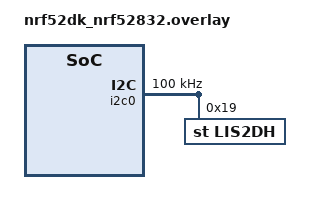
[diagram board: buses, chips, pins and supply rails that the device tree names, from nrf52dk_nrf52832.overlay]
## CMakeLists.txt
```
# SPDX-License-Identifier: Apache-2.0

cmake_minimum_required(VERSION 3.20.0)

find_package(Zephyr REQUIRED HINTS $ENV{ZEPHYR_BASE})
project(FOTA_BLE_ASHU)

target_sources(app PRIVATE src/main.c src/fota_ble_ashu.c)
```

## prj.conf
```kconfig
# FOTA Support
CONFIG_NCS_SAMPLE_MCUMGR_BT_OTA_DFU=y
CONFIG_SYSTEM_WORKQUEUE_STACK_SIZE=4096

# BLE Configuration
CONFIG_BT=y
CONFIG_BT_PERIPHERAL=y
CONFIG_BT_DEVICE_NAME="Activity_Node_F"
CONFIG_BT_GATT_CLIENT=y
CONFIG_BT_EXT_ADV=y
CONFIG_BT_LBS=y
CONFIG_BT_LBS_POLL_BUTTON=y
CONFIG_DK_LIBRARY=y

# Logging
# CONFIG_LOG=y
# CONFIG_LOG_BUFFER_SIZE=2048
# CONFIG_BT_DEBUG_LOG is deprecated

# Power Management
# CONFIG_PM=y
# CONFIG_PM_DEVICE=y

# Sensors & Peripherals
CONFIG_I2C=y
CONFIG_SENSOR=y
CONFIG_GPIO=y
CONFIG_ADC=y
CONFIG_LIS2DH=y
# CONFIG_SENSOR_LOG_LEVEL_DBG=y

# Floating Point Support
# CONFIG_CBPRINTF_FP_SUPPORT=y

# Optimization
# Optimization
CONFIG_SIZE_OPTIMIZATIONS=y
# CONFIG_DEBUG_OPTIMIZATIONS is not set
# CONFIG_COMPILER_OPT=""

# Stack Sizes
CONFIG_MAIN_STACK_SIZE=4096
CONFIG_IDLE_STACK_SIZE=1024
CONFIG_ISR_STACK_SIZE=4096

# Bluetooth Controller
CONFIG_BT_CTLR_ADV_DATA_LEN_MAX=128
CONFIG_BT_CTLR_TX_PWR_PLUS_4=y

# Console
CONFIG_STDOUT_CONSOLE=y
```

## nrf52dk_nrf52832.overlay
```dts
&i2c0{
    compatible = "nordic,nrf-twim";
    status = "okay";
    clock-frequency = <I2C_BITRATE_STANDARD>;
    lis2dh@19 {
        status = "okay";
        compatible = "st,lis2dh";
        reg = <0x19>;
        label = "LIS2DH";
    };
};


// / {
//     leds {
//         compatible = "gpio-leds";
//         led0: led_0 {
//             gpios = <&gpio0 2 GPIO_ACTIVE_LOW>;
//             label = "Green LED 0";
//         };
//         led1: led_1 {
//             gpios = <&gpio0 3 GPIO_ACTIVE_LOW>;
//             label = "Green LED 1";
//         };
//         led2: led_2 {
//             gpios = <&gpio0 4 GPIO_ACTIVE_LOW>;
//             label = "Green LED 2";
//         };
//         led3: led_3 {
//             gpios = <&gpio0 28 GPIO_ACTIVE_LOW>;
//             label = "Green LED 3";
//         };
//     };

// };
// &pinctrl {
//     uart0_default: uart0_default {
//         group1 {
//             psels = <NRF_PSEL(UART_TX, 0, 24)>,
//                     <NRF_PSEL(UART_RX, 0, 23)>,
//                     <NRF_PSEL(UART_RTS, 0, 5)>,
//                     <NRF_PSEL(UART_CTS, 0, 7)>;
//         };
//     };

//     uart0_sleep: uart0_sleep {
//         group1 {
//             psels = <NRF_PSEL(UART_TX, 0, 24)>,
//                     <NRF_PSEL(UART_RX, 0, 23)>,
//                     <NRF_PSEL(UART_RTS, 0, 5)>,
//                     <NRF_PSEL(UART_CTS, 0, 7)>;
//             low-power-enable;
//         };
//     };
//     i2c0_default: i2c0_default {
//         group1 {
//             psels = <NRF_PSEL(TWIM_SDA, 0, 26)>,
//                     <NRF_PSEL(TWIM_SCL, 0, 25)>;
//         };
//     };

//     i2c0_sleep: i2c0_sleep {
//         group1 {
//             psels = <NRF_PSEL(TWIM_SDA, 0, 26)>,
//                     <NRF_PSEL(TWIM_SCL, 0, 25)>;
//             low-power-enable;
//         };
//     };
// };
```

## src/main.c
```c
#include <zephyr/kernel.h>                                   // header files for the project
#include <zephyr/bluetooth/bluetooth.h>
#include <zephyr/drivers/gpio.h>
#include <zephyr/device.h>
#include <zephyr/pm/pm.h>
#include <hal/nrf_gpio.h>
#include <zephyr/drivers/sensor.h>
#include <zephyr/bluetooth/controller.h>
#include <hal/nrf_gpio.h>
#include "fota_ble_ashu.h"

#define SENSOR_TYPE     0x1E; 
#define TOTAL_PACKETS    1;

struct bt_le_ext_adv *adv;                                                            // Declare a pointer to Bluetooth Low Energy extended advertisement structure
const struct device *sensor = DEVICE_DT_GET_ANY(st_lis2dh);             

int8_t accel_value_xa, accel_value_xb;                                                    // Declare a 8 bit signed integer variables to accelorometer values
int8_t accel_value_ya, accel_value_yb;
int8_t accel_value_za, accel_value_zb;

int err;                                                                           // Declare a variable to store error codes

#define DEVICE_NAME CONFIG_BT_DEVICE_NAME
#define DEVICE_NAME_LEN (sizeof(DEVICE_NAME) - 1)                     // It includes the null-terminator (\0) at the end of the string, Subtracting 1 gives the actual length of the string 

struct bt_le_adv_param adv_param = BT_LE_ADV_PARAM_INIT(BT_LE_ADV_OPT_CONN | BT_LE_ADV_OPT_EXT_ADV | BT_LE_ADV_OPT_USE_IDENTITY | BT_LE_ADV_OPT_NO_2M, 0x30, 0x30, NULL);
// start advertising with no timeout and exactly one extended advertising event allowed in the extended advertising set.
struct bt_le_ext_adv_start_param ext_adv_param = BT_LE_EXT_ADV_START_PARAM_INIT(0, 2); // number of events is set to 2.
static uint8_t mfg_data[10] = {0};              // Define a static array to store manufacturer-specific data included in the Bluetooth advertising packets with a size of 10 bytes
static const struct bt_data ad[] = {
      BT_DATA(BT_DATA_MANUFACTURER_DATA, mfg_data, 10),       // Define Bluetooth data with manufacturer-specific data
	    BT_DATA(BT_DATA_NAME_COMPLETE, DEVICE_NAME, DEVICE_NAME_LEN)               // Define Bluetooth data with the complete device name  
                                             
  };
  

//function for creating a random static address and setting it as the identity address of the device.
static void set_random_static_address(void)                     // Function to set a random static address
{
  
  printk("Starting iBeacon Demo\n");                           // Print a message indicating the start of the iBeacon demo

  bt_addr_le_t addr;       //This declares a variable named 'addr' of type 'bt_addr_le_t'. This structure is used to hold a Bluetooth Low Energy (LE) address.     

  // convert the string into a binary address and stores this address in a buffer whose address is addr.
  err = bt_addr_le_from_str("DE:AD:BE:AF:BC:19", "random", &addr); // The second parameter, "random", specifies that the address is a random static address.
  if (err)                                                          // err will hold the return value of this function. If the conversion is successful, err will be 0. 
  {
    printk("Invalid BT address (err %d)\n", err);                    // Print an error message indicating the failure to set the Bluetooth address
  }

  // create a new Identity address. This must be done before enabling Bluetooth. Addr is the address used for the new identity
  err = bt_id_create(&addr, NULL);                                    // Attempt to create a new Bluetooth identity using the provided address
  if (err < 0)                                                             // Check if there was an error in creating the new Bluetooth identity
  {
    printk("Creating new ID failed (err %d)\n", err);                        
  }
  printk("Created new address\n");                                          
}

// function to create the extended advertising set using the advertising parameters.
void adv_param_init(void)                                         // Function to initialize advertising parameters
{
  int err;                                                        
 
  err = bt_le_ext_adv_create(&adv_param, NULL, &adv);           // Attempt to create an extended advertising set, 'NULL' indicating that there are no additional parameters or options provided. 

  if (err)                                                   // Check if there was an error in creating the advertising set
  {
    printk("Failed to create advertising set (err %d)\n", err);       // Print an error message indicating the failure to create the advertising set
    return;                                                           
  }
  printk("Created extended advertising set \n");                       
}

void fetch_acc_data(void)
{
    // Initialize GPIO pins for LEDs
    nrf_gpio_cfg_output(DT_GPIO_PIN(DT_NODELABEL(led0), gpios));    //configures a specified GPIO pin as an output
    nrf_gpio_cfg_output(DT_GPIO_PIN(DT_NODELABEL(led1), gpios));    //The macro 'DT_GPIO_PIN' is used to get the GPIO pin number from the device tree
    nrf_gpio_cfg_output(DT_GPIO_PIN(DT_NODELABEL(led2), gpios));

    // // Initially turn off all LEDs (Active low logic)
    // nrf_gpio_pin_set(DT_GPIO_PIN(DT_NODELABEL(led0), gpios));
    // nrf_gpio_pin_set(DT_GPIO_PIN(DT_NODELABEL(led1), gpios));
    // nrf_gpio_pin_set(DT_GPIO_PIN(DT_NODELABEL(led2), gpios));
    
    mfg_data[0] = 0x59;
    mfg_data[1] = 0x00;
    mfg_data[2] = 158; //device id

        struct sensor_value accel[3];
        
        err = sensor_sample_fetch(sensor); // Fetch sensor samples from the sensor device

        if (err == 0) // Check if the sampling operation was successful
        {
            sensor_channel_get(sensor, SENSOR_CHAN_ACCEL_XYZ, accel);                 //retrieves the X, Y, and Z values from the sensor and stores them in the 'accel' array
            printf("x= %d.%06d, y= %d.%06d, z= %d.%06d\n", 
                   accel[0].val1, abs(accel[0].val2),
                   accel[1].val1, abs(accel[1].val2),
                   accel[2].val1, abs(accel[2].val2));
        }
        else
        {
            printf("ERROR: Accelerometer data update failed: %d\n", err);
        }

        accel_value_xb = accel[0].val1; // X value before the decimal
        accel_value_xa = accel[0].val2 / 10000; // X value after the decimal
        accel_value_yb = accel[1].val1; // Y value before the decimal
        accel_value_ya = accel[1].val2 / 10000; // Y value after the decimal
        accel_value_zb = accel[2].val1; // Z value before the decimal
        accel_value_za = accel[2].val2 / 10000; // Z value after the decimal

        if (accel_value_xb == 0 && accel_value_yb == 0 && (accel_value_zb >=9 || accel_value_zb <=-9 ))
        {
            nrf_gpio_pin_clear(DT_GPIO_PIN(DT_NODELABEL(led2), gpios)); //clear indiactes led 'ON' and set indicates led 'OFF'
            nrf_gpio_pin_set(DT_GPIO_PIN(DT_NODELABEL(led0), gpios));
            nrf_gpio_pin_set(DT_GPIO_PIN(DT_NODELABEL(led1), gpios));
        }
        else if (accel_value_yb == 0 && accel_value_zb == 0 && (accel_value_xb >=9 || accel_value_xb <=-9 ))
        {
            nrf_gpio_pin_clear(DT_GPIO_PIN(DT_NODELABEL(led0), gpios));
            nrf_gpio_pin_set(DT_GPIO_PIN(DT_NODELABEL(led1), gpios));
            nrf_gpio_pin_set(DT_GPIO_PIN(DT_NODELABEL(led2), gpios));
        }
        else if (accel_value_xb == 0 && accel_value_zb == 0 && (accel_value_yb >=9 || accel_value_yb <=-9 ))                                                                                                                                        
        {
            nrf_gpio_pin_clear(DT_GPIO_PIN(DT_NODELABEL(led1), gpios));
            nrf_gpio_pin_set(DT_GPIO_PIN(DT_NODELABEL(led2), gpios));
            nrf_gpio_pin_set(DT_GPIO_PIN(DT_NODELABEL(led0), gpios));
        }

        else{
            nrf_gpio_pin_set(DT_GPIO_PIN(DT_NODELABEL(led0), gpios));
            nrf_gpio_pin_set(DT_GPIO_PIN(DT_NODELABEL(led1), gpios));
            nrf_gpio_pin_set(DT_GPIO_PIN(DT_NODELABEL(led2), gpios));
        }

        // Put the logged sensor data into data buffers
        mfg_data[3] = accel_value_xb; // First byte of X value
        mfg_data[4] = accel_value_xa; // Second byte of X value
        mfg_data[5] = accel_value_yb; // First byte of Y value
        mfg_data[6] = accel_value_ya; // Second byte of Y value
        mfg_data[7] = accel_value_zb; // First byte of Z value
        mfg_data[8] = accel_value_za; // Second byte of Z value

    mfg_data[9] = 0x00;
}

void start_adv(void)            
{
  /* Start advertising */

  err = bt_le_ext_adv_set_data(adv, ad, ARRAY_SIZE(ad), NULL, 0);                       // Setting the advertising data or scan response data for extended advertising set
  if (err)                                                                              // Check if there was an error in setting the advertising data
  {
    printk("Failed (err %d)\n", err);                                                    // Print an error message indicating the failure to set the advertising data
    return;
  }
  printk("Start Extended Advertising...");                                                     // Print a message indicating the start of extended advertising

  err = bt_le_ext_adv_start(adv, &ext_adv_param);                                               // BT_LE_EXT_ADV_START_DEFAULT
  if (err)                                                                                   // Start extended advertising with the specified parameters
  {
    printk("Failed to start extended advertising" "(err %d)\n",  err);                                       // Check if there was an error in starting extended advertising
    return;
  }
  printk("done.\n");                                                      // Print a message indicating the completion of extended advertising start

  // enter sleep mode after advertising
  k_msleep(50);                                           // Delay execution for 100 milliseconds
   
  bt_le_ext_adv_stop(adv);                               // Stop extended advertising
  printk("Stopped advertising..!!\n");                   // Print a message indicating the cessation of advertising

}

int main(void)                             // main function
{

  fota_ashu_start();
  // nrf_gpio_cfg_output(DT_GPIO_PIN(DT_NODELABEL(led3), gpios));    //pin 27 aka VDD HIGH FOR SHT-40. CHECK DTS AND OVERLAY ALWAYS.
  // nrf_gpio_pin_set(DT_GPIO_PIN(DT_NODELABEL(led3), gpios));       // make pin27 high
  printk("Starting Accelorometer Node\n");         

  /* Create a random static address and set it as the identity address of the device */
  set_random_static_address();

  /* Initialize the Bluetooth Subsystem */
  err = bt_enable(NULL);                                               // Enable Bluetooth stack initialization
  if (err)                                                            // Check if there was an error in initializing the Bluetooth stack
  {
    printk("Bluetooth init failed (err %d)\n", err);                 // Print an error message indicating the failure to initialize Bluetooth
    return;
  }
  adv_param_init();                                                  // Initialize advertising parameters
  
  while (1) {
      fetch_acc_data();
      start_adv();
      // Optional: Add a small sleep here if start_adv doesn't sleep enough, 
      // but start_adv already sleeps 50ms.
      // We might want to sleep longer when not advertising to save power.
      k_sleep(K_MSEC(10)); 
  }
}
```

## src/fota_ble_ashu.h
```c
#ifndef FOTA_BLE_ASHU_H
#define FOTA_BLE_ASHU_H

#include <zephyr/kernel.h>

void fota_ashu_start(void);

#endif
```
